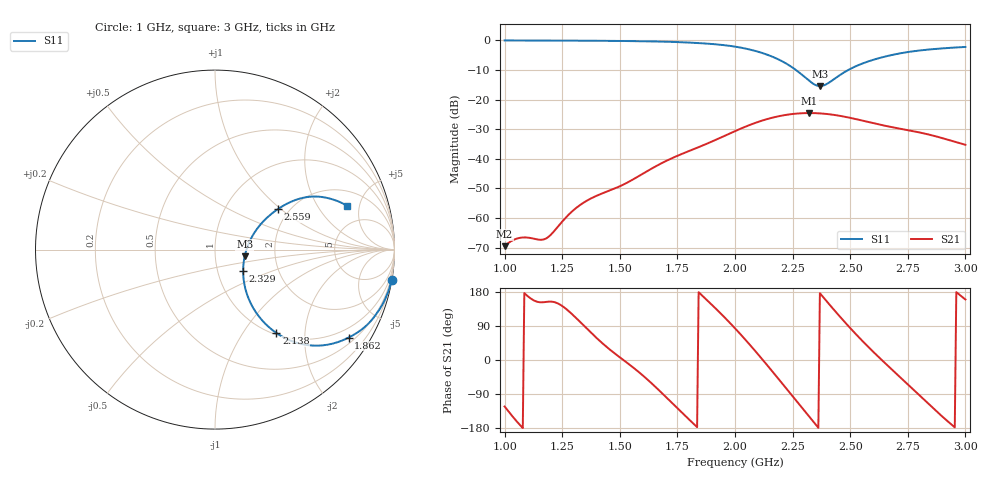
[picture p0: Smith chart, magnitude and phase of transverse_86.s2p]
! TOUCHSTONE file generated by CST MICROWAVE STUDIO
! Date and time: Tue Mar 11 13:56:35 2025
! Project name: transverse.cst
! Parameters = {Fracture=5; B=10; D=160; F=15; Feed=2.85625; L=100; M=10; R=0.384908; S=1; Theta=90; length=57.125; wave=114.25}
! Header version: 2024
! Port assignment regex: !\s*Touchstone port\s*([0-9]+)\s*=\s*(CST MWS port|CST DES external port|CST DES block port)\s*(.+)\s* \(\"(.*)\"\)(\s*mode\s*([0-9]+))?.*
! Touchstone port assignment:
! Touchstone port 1 = CST MWS port 1 ("")
! Touchstone port 2 = CST MWS port 2 ("")
# GHz S MA R 50
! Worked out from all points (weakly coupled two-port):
!   305 points, 1 GHz to 3 GHz, reference 50 ohm
!   highest |S21| = -24.53 dB at 2.322 GHz (marker M1); lowest = -69.5 dB at 1 GHz (marker M2)
!   lowest |S11| = -15.4 dB at 2.368 GHz (marker M3), VSWR 1.41, Z = 69.5 - j5.39 ohm
!   |S11| at or under -10 dB: 2.265 GHz to 2.491 GHz (226.8 MHz wide, 9.54 % of centre)
!   S12 and S22 are empty: the file has one direction only
!   S11 on the Smith chart (normalised r, x): 1 GHz: 0, -12; 1.862 GHz: 0.67, -3.21; 2.138 GHz: 1.03, -1.43; 2.329 GHz: 1.32, -0.33; 2.559 GHz: 1.75, +0.95; 3 GHz: 3.09, +3.77
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1  0.9979 -9.8  0.000335 -122.7  0 0.0  0 0.0
1.06579  0.9967 -10.7  0.0004629 -171.0  0 0.0  0 0.0
1.17763  0.9951 -12.3  0.0004476 153.1  0 0.0  0 0.0
1.20395  0.9946 -12.8  0.0005385 154.0  0 0.0  0 0.0
1.28289  0.9918 -14.2  0.00119 126.5  0 0.0  0 0.0
1.33553  0.9894 -15.2  0.001744 95.8  0 0.0  0 0.0
1.52632  0.9762 -19.7  0.003858 -5.0  0 0.0  0 0.0
1.67105  0.9565 -24.3  0.008042 -80.4  0 0.0  0 0.0
1.86184  0.8914 -33.4  0.01695 167.6  0 0.0  0 0.0
2  0.7849 -43.0  0.02938 83.7  0 0.0  0 0.0
2.13816  0.5768 -53.6  0.04676 -12.5  0 0.0  0 0.0
2.23026  0.3896 -56.8  0.05589 -80.9  0 0.0  0 0.0
2.32237  0.2073 -40.8  0.05935 -149.8  0 0.0  0 0.0
2.32895  0.198 -37.7  0.05934 -154.6  0 0.0  0 0.0
2.33553  0.1898 -34.3  0.05929 -159.5  0 0.0  0 0.0
2.36842  0.1694 -12.8  0.05856 176.3  0 0.0  0 0.0
2.40132  0.1864 8.1  0.05705 152.5  0 0.0  0 0.0
2.46053  0.2681 27.0  0.05278 110.9  0 0.0  0 0.0
2.55921  0.4157 32.8  0.04362 46.4  0 0.0  0 0.0
2.67105  0.5562 30.9  0.0349 -19.6  0 0.0  0 0.0
2.82237  0.6899 24.6  0.02675 -105.9  0 0.0  0 0.0
3  0.7751 18.3  0.01726 159.8  0 0.0  0 0.0
